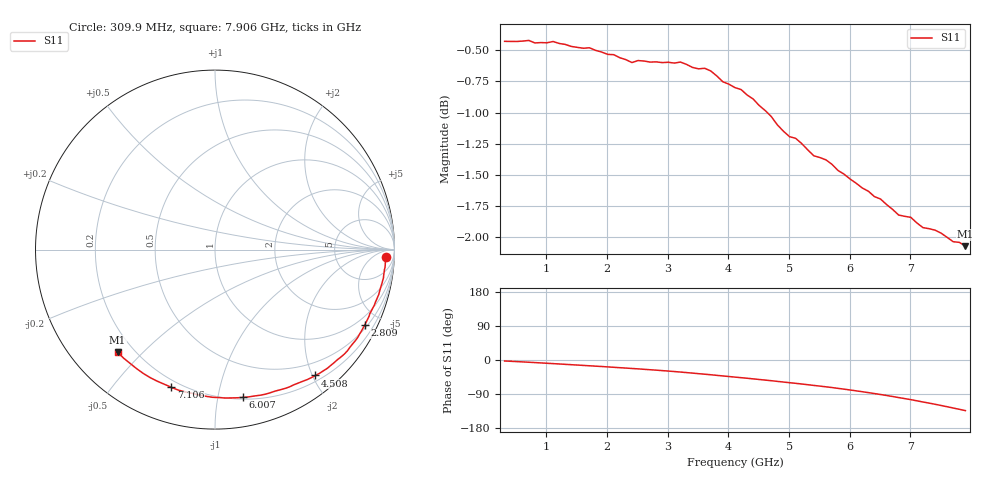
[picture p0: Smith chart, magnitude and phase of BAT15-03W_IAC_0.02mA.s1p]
! Infineon Technologies  Discrete & RF Semiconductors
! BAT15-03W-E6327
! IAC = 0.02 mA
! One-Port S-Parameters
# Hz  S  MA  R  50
!f  S11
!Hz  Mag  Ang
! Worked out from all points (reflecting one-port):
!   77 points, 309.9 MHz to 7.906 GHz, reference 50 ohm
!   lowest |S11| = -2.1 dB at 7.906 GHz (marker M1), VSWR 8.42, Z = 7.01 - j21.1 ohm
!   phase of S11 starts at -3 deg and turns -131 deg over the sweep
!   S11 on the Smith chart (normalised r, x): 309.9 MHz: 22, -20; 2.809 GHz: 0.62, -4.11; 4.508 GHz: 0.28, -2.04; 6.007 GHz: 0.21, -1.19; 7.106 GHz: 0.16, -0.72; 7.906 GHz: 0.14, -0.42
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3.0985e8  0.9519 -2.6
7.0965e8  0.9527 -5.9
1.10945e9  0.9517 -9.5
1.30935e9  0.9492 -11.4
1.70915e9  0.9463 -15.3
2.2089e9  0.9376 -20.3
2.50875e9  0.9351 -23.4
2.8086e9  0.934 -26.8
3.2084e9  0.9338 -31.8
3.70815e9  0.9262 -39.0
4.10795e9  0.9121 -45.1
4.2079e9  0.9104 -46.6
4.50775e9  0.8971 -51.4
4.70765e9  0.8879 -54.7
5.0075e9  0.8716 -59.9
5.10745e9  0.8703 -61.5
5.6072e9  0.8532 -70.8
5.70715e9  0.8496 -72.7
6.007e9  0.8381 -79.2
6.30685e9  0.8288 -86.1
6.50675e9  0.8229 -91.0
6.70665e9  0.815 -96.4
7.0065e9  0.809 -104.6
7.10645e9  0.8049 -107.7
7.4063e9  0.7995 -116.8
7.50625e9  0.7973 -120.0
7.8061e9  0.7906 -130.1
7.90605e9  0.7878 -133.6
